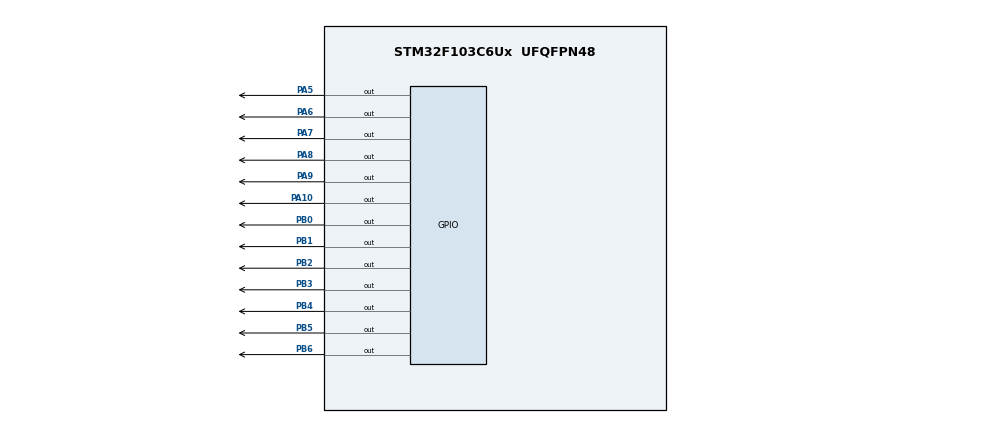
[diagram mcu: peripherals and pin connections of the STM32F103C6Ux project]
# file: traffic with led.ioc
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Mcu.Family=STM32F1
Mcu.Name=STM32F103C6Ux
Mcu.Package=UFQFPN48
NVIC.PriorityGroup=NVIC_PRIORITYGROUP_4
PA10.Signal=GPIO_Output
PA5.Signal=GPIO_Output
PA6.Signal=GPIO_Output
PA7.Signal=GPIO_Output
PA8.Signal=GPIO_Output
PA9.Signal=GPIO_Output
PB0.Signal=GPIO_Output
PB1.Signal=GPIO_Output
PB2.Signal=GPIO_Output
PB3.Signal=GPIO_Output
PB4.Signal=GPIO_Output
PB5.Signal=GPIO_Output
PB6.Signal=GPIO_Output
ProjectManager.HeapSize=0x200
ProjectManager.StackSize=0x400
ProjectManager.TargetToolchain=STM32CubeIDE
RCC.APB1Freq_Value=8000000
RCC.APB2Freq_Value=8000000
VP_SYS_VS_ND.Mode=No_Debug
board=custom

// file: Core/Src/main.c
/* USER CODE BEGIN Header */
/**
  ******************************************************************************
  * @file           : main.c
  * @brief          : Main program body - Traffic Light with 7-Segment Countdown
  ******************************************************************************
  * @attention
  *
  * <h2><center>&copy; Copyright (c) 2026 STMicroelectronics.
  * All rights reserved.</center></h2>
  *
  * This software component is licensed by ST under BSD 3-Clause license,
  * the "License"; You may not use this file except in compliance with the
  * License. You may obtain a copy of the License at:
  *                        opensource.org/licenses/BSD-3-Clause
  *
  ******************************************************************************
  */
/* USER CODE END Header */
#include "main.h"

/* USER CODE BEGIN PV */
const uint8_t seg_code[10] = {
    0x3F, // 0
    0x06, // 1
    0x5B, // 2
    0x4F, // 3
    0x66, // 4
    0x6D, // 5
    0x7D, // 6
    0x07, // 7
    0x7F, // 8
    0x6F  // 9
};

void display7SEG(int num)
{
    if (num >= 0 && num <= 9)
    {
        for (int i = 0; i < 7; i++)
        {
            uint8_t bit_val = (seg_code[num] >> i) & 0x01;
            HAL_GPIO_WritePin(GPIOB, (GPIO_PIN_0 << i), bit_val ? GPIO_PIN_RESET : GPIO_PIN_SET);
        }
    }
}
/* USER CODE END PV */

void SystemClock_Config(void);
static void MX_GPIO_Init(void);

int main(void)
{

  /* MCU Configuration--------------------------------------------------------*/

  /* Reset of all peripherals, Initializes the Flash interface and the Systick. */
  HAL_Init();

  /* Configure the system clock */
  SystemClock_Config();

  /* Initialize all configured peripherals */
  MX_GPIO_Init();

  /* Infinite loop */
  while (1)
  {

    /* USER CODE BEGIN 3 */

    HAL_GPIO_WritePin(GPIOA, GPIO_PIN_5, GPIO_PIN_SET);
    HAL_GPIO_WritePin(GPIOA, GPIO_PIN_6, GPIO_PIN_RESET);
    HAL_GPIO_WritePin(GPIOA, GPIO_PIN_7, GPIO_PIN_RESET);

    HAL_GPIO_WritePin(GPIOA, GPIO_PIN_8, GPIO_PIN_RESET);
    HAL_GPIO_WritePin(GPIOA, GPIO_PIN_9, GPIO_PIN_RESET);
    HAL_GPIO_WritePin(GPIOA, GPIO_PIN_10, GPIO_PIN_SET);

    for (int t = 3; t >= 1; t--)
    {
        display7SEG(t);
        HAL_Delay(1000);
    }

    HAL_GPIO_WritePin(GPIOA, GPIO_PIN_5, GPIO_PIN_SET);
    HAL_GPIO_WritePin(GPIOA, GPIO_PIN_6, GPIO_PIN_RESET);
    HAL_GPIO_WritePin(GPIOA, GPIO_PIN_7, GPIO_PIN_RESET);

    HAL_GPIO_WritePin(GPIOA, GPIO_PIN_8, GPIO_PIN_RESET);
    HAL_GPIO_WritePin(GPIOA, GPIO_PIN_9, GPIO_PIN_SET);
    HAL_GPIO_WritePin(GPIOA, GPIO_PIN_10, GPIO_PIN_RESET);

    for (int t = 2; t >= 1; t--)
    {
        display7SEG(t);
        HAL_Delay(1000);
    }

    HAL_GPIO_WritePin(GPIOA, GPIO_PIN_5, GPIO_PIN_RESET);
    HAL_GPIO_WritePin(GPIOA, GPIO_PIN_6, GPIO_PIN_RESET);
    HAL_GPIO_WritePin(GPIOA, GPIO_PIN_7, GPIO_PIN_SET);

    HAL_GPIO_WritePin(GPIOA, GPIO_PIN_8, GPIO_PIN_SET);
    HAL_GPIO_WritePin(GPIOA, GPIO_PIN_9, GPIO_PIN_RESET);
    HAL_GPIO_WritePin(GPIOA, GPIO_PIN_10, GPIO_PIN_RESET);

    for (int t = 3; t >= 1; t--)
    {
        display7SEG(t);
        HAL_Delay(1000);
    }

    HAL_GPIO_WritePin(GPIOA, GPIO_PIN_5, GPIO_PIN_RESET);
    HAL_GPIO_WritePin(GPIOA, GPIO_PIN_6, GPIO_PIN_SET);
    HAL_GPIO_WritePin(GPIOA, GPIO_PIN_7, GPIO_PIN_RESET);

    HAL_GPIO_WritePin(GPIOA, GPIO_PIN_8, GPIO_PIN_SET);
    HAL_GPIO_WritePin(GPIOA, GPIO_PIN_9, GPIO_PIN_RESET);
    HAL_GPIO_WritePin(GPIOA, GPIO_PIN_10, GPIO_PIN_RESET);

    for (int t = 2; t >= 1; t--)
    {
        display7SEG(t);
        HAL_Delay(1000);
    }
    /* USER CODE END 3 */
  }
  /* USER CODE END 3 */
}

void SystemClock_Config(void)
{
  RCC_OscInitTypeDef RCC_OscInitStruct = {0};
  RCC_ClkInitTypeDef RCC_ClkInitStruct = {0};

  RCC_OscInitStruct.OscillatorType = RCC_OSCILLATORTYPE_HSI;
  RCC_OscInitStruct.HSIState = RCC_HSI_ON;
  RCC_OscInitStruct.HSICalibrationValue = RCC_HSICALIBRATION_DEFAULT;
  RCC_OscInitStruct.PLL.PLLState = RCC_PLL_NONE;
  if (HAL_RCC_OscConfig(&RCC_OscInitStruct) != HAL_OK)
  {
    Error_Handler();
  }

  RCC_ClkInitStruct.ClockType = RCC_CLOCKTYPE_HCLK|RCC_CLOCKTYPE_SYSCLK
                              |RCC_CLOCKTYPE_PCLK1|RCC_CLOCKTYPE_PCLK2;
  RCC_ClkInitStruct.SYSCLKSource = RCC_SYSCLKSOURCE_HSI;
  RCC_ClkInitStruct.AHBCLKDivider = RCC_SYSCLK_DIV1;
  RCC_ClkInitStruct.APB1CLKDivider = RCC_HCLK_DIV1;
  RCC_ClkInitStruct.APB2CLKDivider = RCC_HCLK_DIV1;

  if (HAL_RCC_ClockConfig(&RCC_ClkInitStruct, FLASH_LATENCY_0) != HAL_OK)
  {
    Error_Handler();
  }
}

static void MX_GPIO_Init(void)
{
  GPIO_InitTypeDef GPIO_InitStruct = {0};

  /* GPIO Ports Clock Enable */
  __HAL_RCC_GPIOA_CLK_ENABLE();
  __HAL_RCC_GPIOB_CLK_ENABLE();

  /*Configure GPIO pin Output Level */
  HAL_GPIO_WritePin(GPIOA, GPIO_PIN_5|GPIO_PIN_6|GPIO_PIN_7|GPIO_PIN_8
                          |GPIO_PIN_9|GPIO_PIN_10, GPIO_PIN_RESET);

  /*Configure GPIO pin Output Level */
  HAL_GPIO_WritePin(GPIOB, GPIO_PIN_0|GPIO_PIN_1|GPIO_PIN_2|GPIO_PIN_3
                          |GPIO_PIN_4|GPIO_PIN_5|GPIO_PIN_6, GPIO_PIN_SET);

  /*Configure GPIO pins : PA5 PA6 PA7 PA8
                           PA9 PA10 */
  GPIO_InitStruct.Pin = GPIO_PIN_5|GPIO_PIN_6|GPIO_PIN_7|GPIO_PIN_8
                          |GPIO_PIN_9|GPIO_PIN_10;
  GPIO_InitStruct.Mode = GPIO_MODE_OUTPUT_PP;
  GPIO_InitStruct.Pull = GPIO_NOPULL;
  GPIO_InitStruct.Speed = GPIO_SPEED_FREQ_LOW;
  HAL_GPIO_Init(GPIOA, &GPIO_InitStruct);

  /*Configure GPIO pins : PB0 PB1 PB2 PB3
                           PB4 PB5 PB6 */
  GPIO_InitStruct.Pin = GPIO_PIN_0|GPIO_PIN_1|GPIO_PIN_2|GPIO_PIN_3
                          |GPIO_PIN_4|GPIO_PIN_5|GPIO_PIN_6;
  GPIO_InitStruct.Mode = GPIO_MODE_OUTPUT_PP;
  GPIO_InitStruct.Pull = GPIO_NOPULL;
  GPIO_InitStruct.Speed = GPIO_SPEED_FREQ_LOW;
  HAL_GPIO_Init(GPIOB, &GPIO_InitStruct);

}

void Error_Handler(void)
{
  __disable_irq();
  while (1)
  {
  }
}
